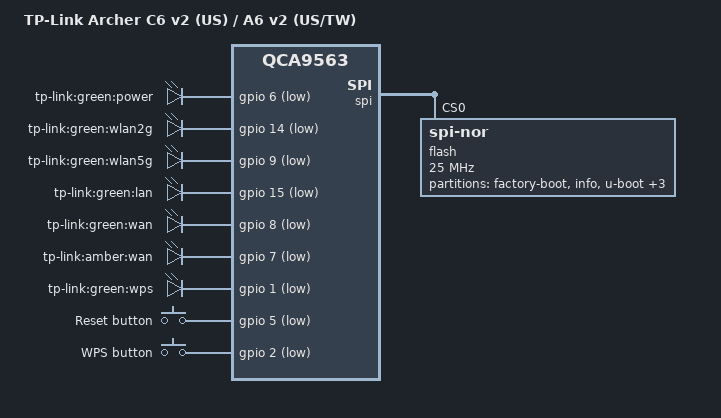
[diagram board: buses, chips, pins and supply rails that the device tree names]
// SPDX-License-Identifier: GPL-2.0-or-later OR MIT

#include "qca9563_tplink_archer-x6-v2.dtsi"

/ {
	compatible = "tplink,archer-c6-v2-us", "qca,qca9563";
	model = "TP-Link Archer C6 v2 (US) / A6 v2 (US/TW)";

	aliases {
		led-boot = &led_power;
		led-failsafe = &led_power;
		led-running = &led_power;
		led-upgrade = &led_power;
	};

	leds {
		compatible = "gpio-leds";

		led_power: power {
			label = "tp-link:green:power";
			gpios = <&gpio 6 GPIO_ACTIVE_LOW>;
			default-state = "on";
		};

		wlan2g {
			label = "tp-link:green:wlan2g";
			gpios = <&gpio 14 GPIO_ACTIVE_LOW>;
			linux,default-trigger = "phy1tpt";
		};

		wlan5g {
			label = "tp-link:green:wlan5g";
			gpios = <&gpio 9 GPIO_ACTIVE_LOW>;
			linux,default-trigger = "phy0tpt";
		};

		lan {
			label = "tp-link:green:lan";
			gpios = <&gpio 15 GPIO_ACTIVE_LOW>;
		};

		wan {
			label = "tp-link:green:wan";
			gpios = <&gpio 8 GPIO_ACTIVE_LOW>;
		};

		wan_fail {
			label = "tp-link:amber:wan";
			gpios = <&gpio 7 GPIO_ACTIVE_LOW>;
		};

		wps {
			label = "tp-link:green:wps";
			gpios = <&gpio 1 GPIO_ACTIVE_LOW>;
		};
	};

	keys {
		compatible = "gpio-keys";

		reset {
			label = "Reset button";
			linux,code = <KEY_RESTART>;
			gpios = <&gpio 5 GPIO_ACTIVE_LOW>;
			debounce-interval = <60>;
		};

		wps {
			label = "WPS button";
			linux,code = <KEY_WPS_BUTTON>;
			gpios = <&gpio 2 GPIO_ACTIVE_LOW>;
			debounce-interval = <60>;
		};
	};
};

&spi {
	status = "okay";

	num-cs = <1>;

	flash@0 {
		compatible = "jedec,spi-nor";
		reg = <0>;
		spi-max-frequency = <25000000>;

		partitions {
			compatible = "fixed-partitions";
			#address-cells = <1>;
			#size-cells = <1>;

			partition@0 {
				label = "factory-boot";
				reg = <0x000000 0x020000>;
				read-only;
			};

			info: partition@20000 {
				label = "info";
				reg = <0x020000 0x010000>;
				read-only;
			};

			partition@30000 {
				label = "u-boot";
				reg = <0x030000 0x020000>;
				read-only;
			};

			partition@50000 {
				compatible = "denx,uimage";
				label = "firmware";
				reg = <0x050000 0xf80000>;
			};

			partition@fd0000 {
				label = "tplink";
				reg = <0xfd0000 0x020000>;
				read-only;
			};

			art: partition@ff0000 {
				label = "art";
				reg = <0xff0000 0x010000>;
				read-only;
			};
		};
	};
};
